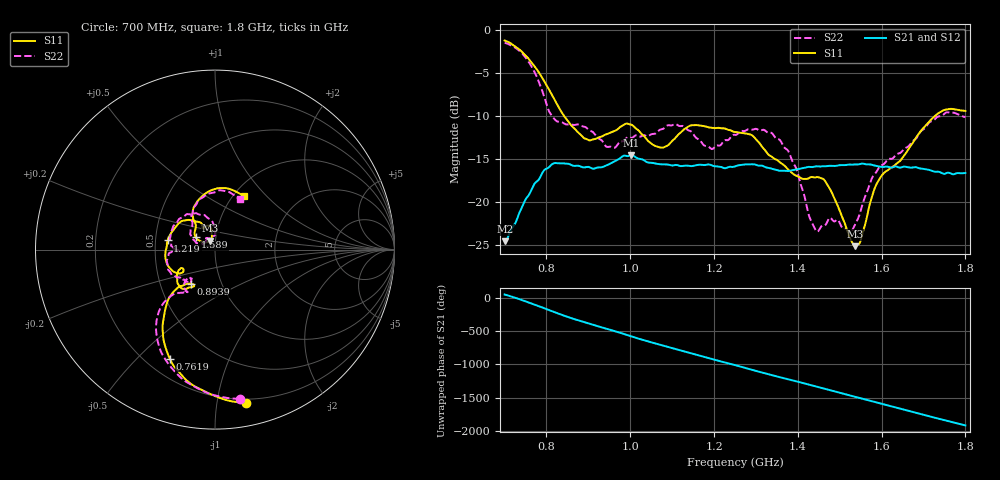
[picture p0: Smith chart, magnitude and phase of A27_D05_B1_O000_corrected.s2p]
! Created with skrf 1.9.0 (http://scikit-rf.org).
# Hz S RI R 50.0
!freq ReS11 ImS11 ReS21 ImS21 ReS12 ImS12 ReS22 ImS22
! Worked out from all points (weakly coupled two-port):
!   1601 points, 700 MHz to 1.8 GHz, reference 50 ohm
!   highest |S21| = -14.56 dB at 1.002 GHz (marker M1); lowest = -24.6 dB at 701.4 MHz (marker M2)
!   lowest |S11| = -25.1 dB at 1.536 GHz (marker M3), VSWR 1.12, Z = 47.3 + j4.68 ohm
!   |S11| at or under -10 dB: 841.9 MHz to 1.727 GHz (885.4 MHz wide, 68.9 % of centre)
!   |S22| runs from -23.6 to -1.5 dB; largest |S21 - S12| = 0.0034
!   S11 on the Smith chart (normalised r, x): 700 MHz: 0.17, -1.21; 761.9 MHz: 0.29, -0.63; 893.9 MHz: 0.72, -0.29; 1.219 GHz: 0.58, +0.06; 1.589 GHz: 0.80, +0.11; 1.8 GHz: 1.12, +0.75
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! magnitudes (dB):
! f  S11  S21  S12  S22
! 700 MHz  -1.2  -24.6  -24.4  -1.5
! 701.4 MHz  -1.2  -24.6  -24.2  -1.5
! 761.9 MHz  -3.6  -18.8  -18.7  -4.0
! 817.6 MHz  -7.9  -15.5  -15.6  -10.3
! 883.6 MHz  -12.3  -15.9  -15.8  -11.2
! 893.9 MHz  -12.6  -15.9  -16.0  -11.3
! 946.1 MHz  -12.1  -15.7  -15.7  -13.6
! 1.002 GHz  -11.0  -14.6  -14.7  -12.5
! 1.067 GHz  -13.6  -15.6  -15.5  -11.7
! 1.144 GHz  -11.1  -15.8  -15.8  -11.8
! 1.219 GHz  -11.4  -16.0  -16.0  -13.2
! 1.25 GHz  -11.9  -15.9  -15.8  -12.2
! 1.358 GHz  -15.4  -16.4  -16.3  -12.8
! 1.396 GHz  -16.9  -16.2  -16.2  -16.0
! 1.434 GHz  -17.1  -15.9  -15.9  -22.4
! 1.469 GHz  -17.9  -15.8  -15.8  -22.4
! 1.536 GHz  -25.1  -15.6  -15.6  -22.7
! 1.55 GHz  -24.4  -15.6  -15.6  -21.0
! 1.589 GHz  -17.8  -15.8  -15.8  -16.4
! 1.617 GHz  -16.2  -15.9  -15.9  -15.0
! 1.733 GHz  -9.8  -16.5  -16.5  -10.1
! 1.8 GHz  -9.4  -16.6  -16.6  -10.1
